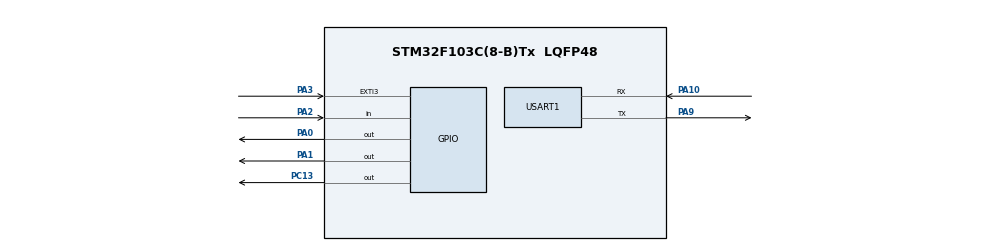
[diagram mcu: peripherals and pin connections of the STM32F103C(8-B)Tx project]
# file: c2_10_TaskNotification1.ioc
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Mcu.Family=STM32F1
Mcu.Name=STM32F103C(8-B)Tx
Mcu.Package=LQFP48
NVIC.PriorityGroup=NVIC_PRIORITYGROUP_4
NVIC.TIM4_IRQn=true\:15\:0\:false\:false\:true\:false\:true\:true
NVIC.TimeBase=TIM4_IRQn
NVIC.TimeBaseIP=TIM4
PA0-WKUP.Signal=GPIO_Output
PA1.Signal=GPIO_Output
PA10.Mode=Asynchronous
PA10.Signal=USART1_RX
PA2.Signal=GPIO_Input
PA3.Signal=GPXTI3
PA9.Mode=Asynchronous
PA9.Signal=USART1_TX
PC13-TAMPER-RTC.Signal=GPIO_Output
ProjectManager.HeapSize=0x200
ProjectManager.StackSize=0x400
ProjectManager.TargetToolchain=STM32CubeIDE
RCC.APB1Freq_Value=8000000
RCC.APB2Freq_Value=8000000
USART1.VirtualMode=VM_ASYNC
VP_SYS_VS_ND.Mode=No_Debug
VP_SYS_VS_tim4.Mode=TIM4
board=custom

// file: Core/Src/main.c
/* USER CODE BEGIN Header */
/**
  ******************************************************************************
  * @file           : main.c
  * @brief          : Main program body
  ******************************************************************************
  * @attention
  *
  * Copyright (c) 2025 STMicroelectronics.
  * All rights reserved.
  *
  * This software is licensed under terms that can be found in the LICENSE file
  * in the root directory of this software component.
  * If no LICENSE file comes with this software, it is provided AS-IS.
  *
  ******************************************************************************
  */
/* USER CODE END Header */
#include "main.h"

/* USER CODE BEGIN Includes */
#include "FreeRTOS.h"
#include "task.h"
#include "stdio.h"
#include <string.h>
/* USER CODE END Includes */

/* USER CODE BEGIN PTD */
uint8_t str[20];
uint8_t sim_data[] = "hi\n";

/* USER CODE END PTD */

UART_HandleTypeDef huart1;

void SystemClock_Config(void);
static void MX_GPIO_Init(void);
static void MX_USART1_UART_Init(void);
/* USER CODE BEGIN PFP */
void button_handler();
void led_handler();

uint8_t inttostr(int num) ;
/* USER CODE END PFP */

/* USER CODE BEGIN 0 */
TaskHandle_t led_handle,button_handle;
/* USER CODE END 0 */

int main(void)
{

  /* USER CODE BEGIN 1 */
	BaseType_t status;

  /* USER CODE END 1 */

  /* MCU Configuration--------------------------------------------------------*/

  /* Reset of all peripherals, Initializes the Flash interface and the Systick. */
  HAL_Init();

  /* Configure the system clock */
  SystemClock_Config();

  /* Initialize all configured peripherals */
  MX_GPIO_Init();
  MX_USART1_UART_Init();
  /* USER CODE BEGIN 2 */
  status =xTaskCreate(led_handler, "Led", 300, NULL, 1, &led_handle);
  configASSERT(status == pdTRUE);
  status =xTaskCreate(button_handler, "Button", 100, NULL, 1, &button_handle);
  configASSERT(status == pdTRUE);

  vTaskStartScheduler();
  /* USER CODE END 2 */

  /* Infinite loop */
  while (1)
  {

  }
}

void SystemClock_Config(void)
{
  RCC_OscInitTypeDef RCC_OscInitStruct = {0};
  RCC_ClkInitTypeDef RCC_ClkInitStruct = {0};

  /** Initializes the RCC Oscillators according to the specified parameters
  * in the RCC_OscInitTypeDef structure.
  */
  RCC_OscInitStruct.OscillatorType = RCC_OSCILLATORTYPE_HSI;
  RCC_OscInitStruct.HSIState = RCC_HSI_ON;
  RCC_OscInitStruct.HSICalibrationValue = RCC_HSICALIBRATION_DEFAULT;
  RCC_OscInitStruct.PLL.PLLState = RCC_PLL_NONE;
  if (HAL_RCC_OscConfig(&RCC_OscInitStruct) != HAL_OK)
  {
    Error_Handler();
  }

  /** Initializes the CPU, AHB and APB buses clocks
  */
  RCC_ClkInitStruct.ClockType = RCC_CLOCKTYPE_HCLK|RCC_CLOCKTYPE_SYSCLK
                              |RCC_CLOCKTYPE_PCLK1|RCC_CLOCKTYPE_PCLK2;
  RCC_ClkInitStruct.SYSCLKSource = RCC_SYSCLKSOURCE_HSI;
  RCC_ClkInitStruct.AHBCLKDivider = RCC_SYSCLK_DIV1;
  RCC_ClkInitStruct.APB1CLKDivider = RCC_HCLK_DIV1;
  RCC_ClkInitStruct.APB2CLKDivider = RCC_HCLK_DIV1;

  if (HAL_RCC_ClockConfig(&RCC_ClkInitStruct, FLASH_LATENCY_0) != HAL_OK)
  {
    Error_Handler();
  }
}

static void MX_USART1_UART_Init(void)
{

  huart1.Instance = USART1;
  huart1.Init.BaudRate = 115200;
  huart1.Init.WordLength = UART_WORDLENGTH_8B;
  huart1.Init.StopBits = UART_STOPBITS_1;
  huart1.Init.Parity = UART_PARITY_NONE;
  huart1.Init.Mode = UART_MODE_TX_RX;
  huart1.Init.HwFlowCtl = UART_HWCONTROL_NONE;
  huart1.Init.OverSampling = UART_OVERSAMPLING_16;
  if (HAL_UART_Init(&huart1) != HAL_OK)
  {
    Error_Handler();
  }

}

static void MX_GPIO_Init(void)
{
  GPIO_InitTypeDef GPIO_InitStruct = {0};

  /* GPIO Ports Clock Enable */
  __HAL_RCC_GPIOC_CLK_ENABLE();
  __HAL_RCC_GPIOA_CLK_ENABLE();

  /*Configure GPIO pin Output Level */
  HAL_GPIO_WritePin(GPIOC, GPIO_PIN_13, GPIO_PIN_RESET);

  /*Configure GPIO pin Output Level */
  HAL_GPIO_WritePin(GPIOA, GPIO_PIN_0|GPIO_PIN_1, GPIO_PIN_RESET);

  /*Configure GPIO pin : PC13 */
  GPIO_InitStruct.Pin = GPIO_PIN_13;
  GPIO_InitStruct.Mode = GPIO_MODE_OUTPUT_PP;
  GPIO_InitStruct.Pull = GPIO_NOPULL;
  GPIO_InitStruct.Speed = GPIO_SPEED_FREQ_LOW;
  HAL_GPIO_Init(GPIOC, &GPIO_InitStruct);

  /*Configure GPIO pins : PA0 PA1 */
  GPIO_InitStruct.Pin = GPIO_PIN_0|GPIO_PIN_1;
  GPIO_InitStruct.Mode = GPIO_MODE_OUTPUT_PP;
  GPIO_InitStruct.Pull = GPIO_NOPULL;
  GPIO_InitStruct.Speed = GPIO_SPEED_FREQ_LOW;
  HAL_GPIO_Init(GPIOA, &GPIO_InitStruct);

  /*Configure GPIO pin : PA2 */
  GPIO_InitStruct.Pin = GPIO_PIN_2;
  GPIO_InitStruct.Mode = GPIO_MODE_INPUT;
  GPIO_InitStruct.Pull = GPIO_NOPULL;
  HAL_GPIO_Init(GPIOA, &GPIO_InitStruct);

  /*Configure GPIO pin : PA3 */
  GPIO_InitStruct.Pin = GPIO_PIN_3;
  GPIO_InitStruct.Mode = GPIO_MODE_IT_RISING;
  GPIO_InitStruct.Pull = GPIO_NOPULL;
  HAL_GPIO_Init(GPIOA, &GPIO_InitStruct);

}

/* USER CODE BEGIN 4 */
void button_handler(){
	int prev_button,cur_button=0;
	TickType_t time = xTaskGetTickCount ();
	while(1){
		cur_button = HAL_GPIO_ReadPin(GPIOA, GPIO_PIN_2);
		if(cur_button==1){
			if(prev_button==0){
				//xTaskNotify(led_handle,0,eNoAction);
				//xTaskNotify(led_handle,0x1,eSetBits);
				//xTaskNotify(led_handle,'a',eIncrement);
				xTaskNotify(led_handle,655,eSetValueWithOverwrite);
			}
		}
		prev_button = cur_button;
		xTaskDelayUntil(&time,pdMS_TO_TICKS(50));

	}
}

void led_handler(){
	BaseType_t status;
	uint32_t pulnotificationvalue ;
	uint8_t count,digit;
	while(1){
		status =xTaskNotifyWait(0x0,0xffffffff,&pulnotificationvalue,portMAX_DELAY);   //eNoAction,eSetBits,eSetValueWithOverwrite
//		status =xTaskNotifyWait(0x0,0x0,&pulnotificationvalue,portMAX_DELAY);          //eIncrement

		//snprintf(str,sizeof(str),"%lu a\r\n",pulnotificationvalue);  // dont use sprintf - stack overflow may happen

//		if(status == pdTRUE){      //eNoAction
//			HAL_GPIO_TogglePin(GPIOC, GPIO_PIN_13);
//
//		}

//		if(pulnotificationvalue == 0x01){               //    eSetBits
//			HAL_GPIO_TogglePin(GPIOC, GPIO_PIN_13);
//			pulnotificationvalue=pulnotificationvalue+0x30;
//			HAL_UART_Transmit(&huart1,(uint8_t*) &pulnotificationvalue, sizeof(pulnotificationvalue), 1000);
//			//HAL_UART_Transmit(&huart1,sim_data, 3, 1000);
//		}
//

//		if(status == pdTRUE){               //    eIncrement
//			HAL_GPIO_TogglePin(GPIOC, GPIO_PIN_13);
//			if(pulnotificationvalue>9){
//				ulTaskNotifyValueClear( NULL,0xffffffff );
//				pulnotificationvalue=0;
//			}
//			count=pulnotificationvalue+0x30;
//			HAL_UART_Transmit(&huart1,(uint8_t*) &count, 1, 1000);
//		}

		if(status == pdTRUE){           //eSetValueWithOverwrite
			HAL_GPIO_TogglePin(GPIOC, GPIO_PIN_13);
			digit=inttostr(pulnotificationvalue);
			HAL_UART_Transmit(&huart1,str,digit , 1000);
		}

	}
}

uint8_t inttostr(int num) {
    int i = 0;

    // Handle 0 explicitly
    if (num == 0) {
        str[i++] = '0';
        str[i] = '\0';
        return 1;
    }

    // Extract digits (in reverse order)
    while (num != 0) {
        int digit = num % 10;
        str[i++] = digit + '0';
        num /= 10;
    }

    // Null terminate the string
    str[i] = '\0';

    // Reverse the string
    for (int j = 0, k = i - 1; j < k; j++, k--) {
        char temp = str[j];
        str[j] = str[k];
        str[k] = temp;
    }
    return i;
}

/* USER CODE END 4 */

void HAL_TIM_PeriodElapsedCallback(TIM_HandleTypeDef *htim)
{
  if (htim->Instance == TIM4)
  {
    HAL_IncTick();
  }
}

void Error_Handler(void)
{
  __disable_irq();
  while (1)
  {
  }
}
